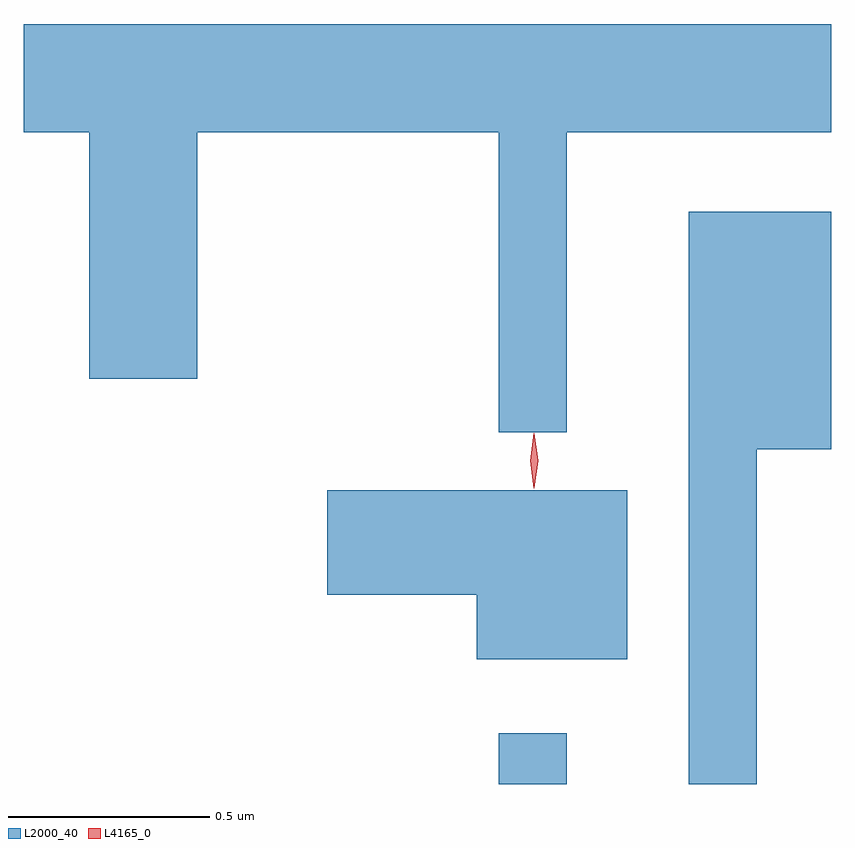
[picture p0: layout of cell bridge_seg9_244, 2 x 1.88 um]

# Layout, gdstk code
import gdstk
lib = gdstk.Library(unit=1e-6, precision=1e-09)
def R(c, l, rs):  # rectangles x0, y0, x1, y1
    for r in rs: c.add(gdstk.rectangle(r[:2], r[2:], *l))
def P(c, l, *ps):  # polygons
    for p in ps: c.add(gdstk.Polygon(p, *l))
L2000_40 = (2000, 40)
L4165_0 = (4165, 0)

bridge_seg9_244 = lib.new_cell('bridge_seg9_244')
R(bridge_seg9_244, L2000_40, [(1454.851,1987.982,1455.019,1988.108)])
P(bridge_seg9_244, L2000_40, [(1453.674,1989.596),(1453.836,1989.596),(1453.836,1988.986),(1454.104,1988.986),(1454.104,1989.596),(1454.851,1989.596),(1454.851,1988.853),(1455.019,1988.853),(1455.019,1989.596),(1455.674,1989.596),(1455.674,1989.864),(1453.674,1989.864)],
  [(1455.489,1988.811),(1455.674,1988.811),(1455.674,1989.399),(1455.321,1989.399),(1455.321,1987.982),(1455.489,1987.982)],
  [(1455.169,1988.709),(1454.426,1988.709),(1454.426,1988.451),(1454.796,1988.451),(1454.796,1988.291),(1455.169,1988.291)])
P(bridge_seg9_244, L4165_0, [(1454.937,1988.72),(1454.928,1988.783),(1454.937,1988.846),(1454.937,1988.847),(1454.938,1988.846),(1454.948,1988.783),(1454.938,1988.72),(1454.938,1988.72)],
  [(1454.937,1988.714),(1454.928,1988.782),(1454.937,1988.85),(1454.937,1988.85),(1454.938,1988.85),(1454.948,1988.782),(1454.938,1988.714),(1454.938,1988.714)])

lib.write_gds('bridge_seg9_244.gds')
